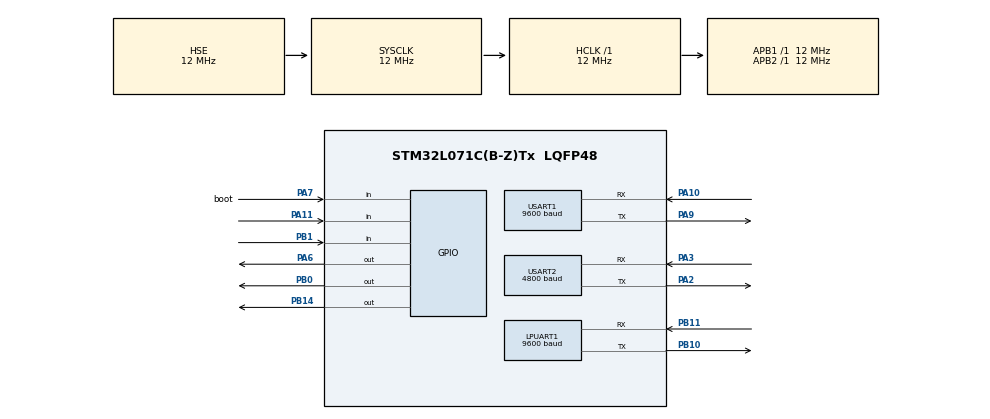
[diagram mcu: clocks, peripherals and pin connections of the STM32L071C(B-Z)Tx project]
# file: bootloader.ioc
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ADC.Resolution=ADC_RESOLUTION_10B
LPUART1.BaudRate=9600
LPUART1.SwapParam=UART_ADVFEATURE_SWAP_DISABLE
LPUART1.WordLength=UART_WORDLENGTH_8B
Mcu.Family=STM32L0
Mcu.Name=STM32L071C(B-Z)Tx
Mcu.Package=LQFP48
NVIC.LPUART1_IRQn=true\:0\:0\:false\:false\:true\:true\:true
NVIC.RTC_IRQn=true\:0\:0\:false\:false\:true\:true\:true
NVIC.USART2_IRQn=true\:0\:0\:false\:false\:true\:true\:true
PA10.Mode=Asynchronous
PA10.Signal=USART1_RX
PA11.Signal=GPIO_Input
PA13.Mode=Serial_Wire
PA13.Signal=SYS_SWDIO
PA14.Mode=Serial_Wire
PA14.Signal=SYS_SWCLK
PA2.Mode=Asynchronous
PA2.Signal=USART2_TX
PA3.Mode=Asynchronous
PA3.Signal=USART2_RX
PA6.Signal=GPIO_Output
PA7.GPIO_Label=boot
PA7.Signal=GPIO_Input
PA9.Mode=Asynchronous
PA9.Signal=USART1_TX
PB0.Signal=GPIO_Output
PB1.Signal=GPIO_Input
PB10.Mode=Asynchronous
PB10.Signal=LPUART1_TX
PB11.Mode=Asynchronous
PB11.Signal=LPUART1_RX
PB14.Signal=GPIO_Output
PC14-OSC32_IN.Mode=LSE-External-Oscillator
PC14-OSC32_IN.Signal=RCC_OSC32_IN
PC15-OSC32_OUT.Mode=LSE-External-Oscillator
PC15-OSC32_OUT.Signal=RCC_OSC32_OUT
PH0-OSC_IN.Mode=HSE-External-Oscillator
PH0-OSC_IN.Signal=RCC_OSC_IN
PH1-OSC_OUT.Mode=HSE-External-Oscillator
PH1-OSC_OUT.Signal=RCC_OSC_OUT
ProjectManager.HeapSize=0x200
ProjectManager.StackSize=0x400
ProjectManager.TargetToolchain=MDK-ARM V5
RCC.AHBFreq_Value=12000000
RCC.APB1Freq_Value=12000000
RCC.APB1TimFreq_Value=12000000
RCC.APB2Freq_Value=12000000
RCC.APB2TimFreq_Value=12000000
RCC.HCLKFreq_Value=12000000
RCC.HSE_VALUE=12000000
RCC.HSI16_VALUE=16000000
RCC.HSI_VALUE=16000000
RCC.MSI_VALUE=2097000
RCC.RTCClockSelection=RCC_RTCCLKSOURCE_LSE
RCC.RTCClockSelectionVirtual=RCC_RTCCLKSOURCE_LSE
RCC.SYSCLKFreq_VALUE=12000000
RCC.SYSCLKSource=RCC_SYSCLKSOURCE_HSE
RCC.VCOOutputFreq_Value=48000000
RTC.Alarm-Alarm\ A=RTC_ALARM_A
RTC.WakeUpClock-WakeUp=RTC_WAKEUPCLOCK_CK_SPRE_16BITS
RTC.WakeUpCounter-WakeUp=30
USART1.BaudRate=9600
USART1.VirtualMode-Asynchronous=VM_ASYNC
USART2.BaudRate=4800
USART2.VirtualMode-Asynchronous=VM_ASYNC
VP_ADC_Vref_Input.Mode=IN-Vrefint
VP_CRC_VS_CRC.Mode=CRC_Activate
VP_RTC_VS_RTC_Activate.Mode=RTC_Enabled
VP_RTC_VS_RTC_Alarm_A_Intern.Mode=Alarm A
VP_RTC_VS_RTC_Calendar.Mode=RTC_Calendar
VP_RTC_VS_RTC_WakeUp_intern.Mode=WakeUp
board=custom

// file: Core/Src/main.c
/* USER CODE BEGIN Header */
/**
 ******************************************************************************
 * @file           : main.c
 * @brief          : Main program body
 ******************************************************************************
 * @attention
 *
 * <h2><center>&copy; Copyright (c) 2022 STMicroelectronics.
 * All rights reserved.</center></h2>
 *
 * This software component is licensed by ST under BSD 3-Clause license,
 * the "License"; You may not use this file except in compliance with the
 * License. You may obtain a copy of the License at:
 *                        opensource.org/licenses/BSD-3-Clause
 *
 ******************************************************************************
 */
/* USER CODE END Header */
#include "main.h"
#include "adc.h"
#include "crc.h"
#include "usart.h"
#include "rtc.h"
#include "gpio.h"

/* USER CODE BEGIN PD */
#define Flash_Base_App_1 0x08004000UL
#define Bootloader_version 1
// # define MANUFACTURER_ID 0xCAFE00
/* USER CODE END PD */

/* USER CODE BEGIN PV */

uint8_t RX_Uart1[300];
uint8_t RX_Uart_CMD_Checker = 0;
uint8_t responseFromMCU[20];
uint8_t responseFromMCU_lenght = 0;

uint32_t tempAddressMemWrite = 0;
uint8_t tempMaxCountWrite = 0;
int8_t y = 0;
uint32_t flash_data = 0;
volatile uint32_t crcCheck = 0;
volatile uint32_t javaCrc = 0;

/* USER CODE END PV */

void SystemClock_Config(void);

int main(void)
{

	/* MCU Configuration--------------------------------------------------------*/

	/* Reset of all peripherals, Initializes the Flash interface and the Systick. */
	HAL_Init();

	/* Configure the system clock */
	SystemClock_Config();

	/* Initialize all configured peripherals */
	MX_GPIO_Init();
	MX_RTC_Init();
	MX_USART2_UART_Init();
	MX_LPUART1_UART_Init();
	MX_ADC_Init();
	MX_CRC_Init();
	MX_USART1_UART_Init();
	/* USER CODE BEGIN 2 */

	if (HAL_GPIO_ReadPin(boot_GPIO_Port, boot_Pin) == GPIO_PIN_SET)
	{
		// Go to user app
		void (*user_App_1)(void);

		uint32_t tmep_msp = *(__IO uint32_t *)Flash_Base_App_1;
		__set_MSP(tmep_msp);
		uint32_t user_app1_RSThandler_address = *(__IO uint32_t *)(Flash_Base_App_1 + 4);
		user_App_1 = (void *)user_app1_RSThandler_address;

		user_App_1();
	}
	else
	{
		// bootloader todo

		while (1)
		{

			for (uint16_t cr = 0; cr < sizeof(RX_Uart1); cr++)
				RX_Uart1[cr] = 0;

			HAL_UART_Receive(&huart1, RX_Uart1, 1, HAL_MAX_DELAY);
			if (RX_Uart1[0] & 0x80)
			{
				// in this state we should act with this bit as a response
			}
			else
			{
				// in this state we should act with this bit as a command
				uint8_t packetLenght = (RX_Uart1[0] & 0x7f);

				HAL_UART_Receive(&huart1, RX_Uart1 + 1, (packetLenght + 4), HAL_MAX_DELAY);

				for (uint16_t co = 0; co < sizeof(responseFromMCU); co++)
					responseFromMCU[co] = 0;

				uint32_t tmep_msp = 0;
				uint32_t user_app1_RSThandler_addressx = 0;
				void (*user_App_x)(void);

				uint32_t tempPageToErase = 0;
				FLASH_EraseInitTypeDef mFLASH_EraseInitTypeDef;
				uint32_t tempErrorErase = 0;

				uint32_t tempValue;
				//	uint32_t javaCrc=0;
				responseFromMCU_lenght = 1;
				uint8_t packetLenghtAsInt = 0;
				uint8_t conw;
				uint8_t read = (packetLenght + 1);
				uint8_t tempByte[4];
				uint8_t yshow;
				//////check crc part///////////

				if (packetLenght < 2)
				{
					javaCrc = RX_Uart1[2] << 24 | RX_Uart1[3] << 16 | RX_Uart1[4] << 8 | RX_Uart1[5];
					tempValue = 0;
					tempValue = RX_Uart1[0] << 24 | RX_Uart1[1] << 16;
					crcCheck = HAL_CRC_Calculate(&hcrc, &tempValue, 1);

					if (javaCrc == crcCheck)
					{

						// ACK response which means packet has been received correctly
						// A means Ack
						responseFromMCU[responseFromMCU_lenght++] = 'A';
					}
					else
					{
						//
						//
						//
						//
					}
				}
				else
				{
					__HAL_CRC_DR_RESET(&hcrc);
					for (conw = 0; conw < read; conw += 4)
					{
						if (conw < read)
						{
							tempByte[0] = RX_Uart1[conw];
						}
						else
						{

							tempByte[0] = 0x00;
						}
						if (conw + 1 < read)
						{
							tempByte[1] = RX_Uart1[conw + 1];
						}
						else
						{

							tempByte[1] = 0x00;
						}
						if (conw + 2 < read)
						{
							tempByte[2] = RX_Uart1[conw + 2];
						}
						else
						{

							tempByte[2] = 0x00;
						}
						if (conw + 3 < read)
						{
							tempByte[3] = RX_Uart1[conw + 3];
						}
						else
						{

							tempByte[3] = 0x00;
						}
						tempValue = tempByte[0] << 24 | tempByte[1] << 16 | tempByte[2] << 8 | tempByte[3];
						crcCheck = HAL_CRC_Accumulate(&hcrc, &tempValue, 1);
					}

					javaCrc = RX_Uart1[(packetLenght) + 1] << 24 | RX_Uart1[(packetLenght) + 2] << 16 | RX_Uart1[(packetLenght) + 3] << 8 | RX_Uart1[(packetLenght) + 4];

					if (javaCrc == crcCheck)
					{

						// A means Ack
						responseFromMCU[responseFromMCU_lenght++] = 'A';
					}
					else
					{
						HAL_UART_Transmit(&huart1, "CRCNOTOK", 8, 100);
						//
						//
						//
						//
					}
				}

				///////////////end of crc check////////////////

				switch (RX_Uart1[1])
				{

				case 1:
					// Help

					if (responseFromMCU[1] == 'A')
					{
						responseFromMCU[responseFromMCU_lenght++] = 'H';
						responseFromMCU[responseFromMCU_lenght++] = 'E';
						responseFromMCU[responseFromMCU_lenght++] = 'L';
						responseFromMCU[responseFromMCU_lenght++] = 'P';
						responseFromMCU[responseFromMCU_lenght++] = 'R';
						responseFromMCU[responseFromMCU_lenght++] = 'E';
						responseFromMCU[responseFromMCU_lenght++] = 'S';
						responseFromMCU[0] = 0x80 + (responseFromMCU_lenght);
						HAL_UART_Transmit(&huart1, responseFromMCU, responseFromMCU_lenght, 500);
					}
					else
					{
						responseFromMCU[responseFromMCU_lenght++] = 'N'; // crc not ok
						responseFromMCU[0] = 0x81;

						HAL_UART_Transmit(&huart1, responseFromMCU, responseFromMCU_lenght, 100);
					}
					break;

				case 2:
					// bootloader version
					if (responseFromMCU[1] == 'A')
					{
						responseFromMCU[responseFromMCU_lenght++] = 'V';
						responseFromMCU[responseFromMCU_lenght++] = 'E';
						responseFromMCU[responseFromMCU_lenght++] = 'R';
						responseFromMCU[responseFromMCU_lenght++] = 'S';
						responseFromMCU[responseFromMCU_lenght++] = 'I';
						responseFromMCU[responseFromMCU_lenght++] = 'O';
						responseFromMCU[responseFromMCU_lenght++] = 'N';
						responseFromMCU[responseFromMCU_lenght++] = ':';
						responseFromMCU[responseFromMCU_lenght++] = Bootloader_version + 0x30;
						responseFromMCU[0] = 0x80 + (responseFromMCU_lenght);
						HAL_UART_Transmit(&huart1, responseFromMCU, responseFromMCU_lenght, 100);
					}
					else
					{
						responseFromMCU[responseFromMCU_lenght++] = 'N'; // crc not ok
						responseFromMCU[0] = 0x81;

						HAL_UART_Transmit(&huart1, responseFromMCU, responseFromMCU_lenght, 100);
					}
					break;

				case 3:
					// flash sector status
					if (responseFromMCU[1] == 'A')
					{
						responseFromMCU[responseFromMCU_lenght++] = 'F';
						responseFromMCU[responseFromMCU_lenght++] = 'L';
						responseFromMCU[responseFromMCU_lenght++] = 'A';
						responseFromMCU[responseFromMCU_lenght++] = 'S';
						responseFromMCU[responseFromMCU_lenght++] = 'H';
						responseFromMCU[responseFromMCU_lenght++] = 'S';
						responseFromMCU[responseFromMCU_lenght++] = 'T';
						responseFromMCU[responseFromMCU_lenght++] = 'A';
						responseFromMCU[responseFromMCU_lenght++] = 'T';
						responseFromMCU[responseFromMCU_lenght++] = 'U';
						responseFromMCU[responseFromMCU_lenght++] = 'S';
						responseFromMCU[responseFromMCU_lenght++] = ':';
						responseFromMCU[responseFromMCU_lenght++] = ' ';
						responseFromMCU[responseFromMCU_lenght++] = ((FLASH->WRPR) >> 24) & 0xFF;
						responseFromMCU[responseFromMCU_lenght++] = ((FLASH->WRPR) >> 16) & 0xFF;
						responseFromMCU[responseFromMCU_lenght++] = ((FLASH->WRPR) >> 8) & 0xFF;
						responseFromMCU[responseFromMCU_lenght++] = ((FLASH->WRPR)) & 0xFF;
						responseFromMCU[0] = 0x80 + (responseFromMCU_lenght);

						HAL_UART_Transmit(&huart1, responseFromMCU, responseFromMCU_lenght, 100);
					}
					else
					{
						responseFromMCU[responseFromMCU_lenght++] = 'N'; // crc not ok
						responseFromMCU[0] = 0x81;

						HAL_UART_Transmit(&huart1, responseFromMCU, responseFromMCU_lenght, 100);
					}

					break;

				case 4:
					// send uniqe device ID to java app pc

					if (responseFromMCU[1] == 'A')
					{
						responseFromMCU[responseFromMCU_lenght++] = 'M';
						responseFromMCU[responseFromMCU_lenght++] = 'A';
						responseFromMCU[responseFromMCU_lenght++] = 'N';

						responseFromMCU[responseFromMCU_lenght++] = 'I';
						responseFromMCU[responseFromMCU_lenght++] = 'D';
						responseFromMCU[responseFromMCU_lenght++] = ':';
						responseFromMCU[responseFromMCU_lenght++] = ' ';

						responseFromMCU[responseFromMCU_lenght++] = ((*(uint8_t *)(UID_BASE)) / 100) + 0x30;
						responseFromMCU[responseFromMCU_lenght++] = (((*(uint8_t *)(UID_BASE) % 100)) / 10) + 0x30;
						responseFromMCU[responseFromMCU_lenght++] = ((*(uint8_t *)(UID_BASE)) % 10) + 0x30;

						responseFromMCU[responseFromMCU_lenght++] = ((*(uint8_t *)(UID_BASE + 1)) / 100) + 0x30;
						responseFromMCU[responseFromMCU_lenght++] = (((*(uint8_t *)(UID_BASE + 1)) % 100) / 10) + 0x30;
						responseFromMCU[responseFromMCU_lenght++] = ((*(uint8_t *)(UID_BASE + 1)) % 10) + 0x30;

						responseFromMCU[responseFromMCU_lenght++] = ((*(uint8_t *)(UID_BASE + 2)) / 100) + 0x30;
						responseFromMCU[responseFromMCU_lenght++] = (((*(uint8_t *)(UID_BASE + 2) % 100)) / 10) + 0x30;
						responseFromMCU[responseFromMCU_lenght++] = ((*(uint8_t *)(UID_BASE + 2)) % 10) + 0x30;

						responseFromMCU[responseFromMCU_lenght++] = ((*(uint8_t *)(UID_BASE + 3)) / 100) + 0x30;
						responseFromMCU[responseFromMCU_lenght++] = (((*(uint8_t *)(UID_BASE + 3) % 100)) / 10) + 0x30;
						responseFromMCU[responseFromMCU_lenght++] = ((*(uint8_t *)(UID_BASE + 3)) % 10) + 0x30;

						responseFromMCU[0] = 0x80 + (responseFromMCU_lenght);

						HAL_UART_Transmit(&huart1, responseFromMCU, responseFromMCU_lenght, 100);
					}
					else
					{
						responseFromMCU[responseFromMCU_lenght++] = 'N'; // crc not ok
						responseFromMCU[0] = 0x81;

						HAL_UART_Transmit(&huart1, responseFromMCU, responseFromMCU_lenght, 100);
					}

					responseFromMCU[0] = ((*(uint8_t *)(UID_BASE)) / 100) + 0x30;
					responseFromMCU[1] = (((*(uint8_t *)(UID_BASE) % 100)) / 10) + 0x30;
					responseFromMCU[2] = ((*(uint8_t *)(UID_BASE)) % 10) + 0x30;

					responseFromMCU[3] = ((*(uint8_t *)(UID_BASE + 1)) / 100) + 0x30;
					responseFromMCU[4] = (((*(uint8_t *)(UID_BASE + 1)) % 100) / 10) + 0x30;
					responseFromMCU[5] = ((*(uint8_t *)(UID_BASE + 1)) % 10) + 0x30;

					responseFromMCU[6] = ((*(uint8_t *)(UID_BASE + 2)) / 100) + 0x30;
					responseFromMCU[7] = (((*(uint8_t *)(UID_BASE + 2) % 100)) / 10) + 0x30;
					responseFromMCU[8] = ((*(uint8_t *)(UID_BASE + 2)) % 10) + 0x30;

					responseFromMCU[9] = ((*(uint8_t *)(UID_BASE + 3)) / 100) + 0x30;
					responseFromMCU[10] = (((*(uint8_t *)(UID_BASE + 3) % 100)) / 10) + 0x30;
					responseFromMCU[11] = ((*(uint8_t *)(UID_BASE + 3)) % 10) + 0x30;

					HAL_UART_Transmit(&huart1, responseFromMCU, 12, 100);
					break;

				case 5:
					// jump to user app

					if (responseFromMCU[1] == 'A')
					{

						responseFromMCU[responseFromMCU_lenght++] = 'D';
						responseFromMCU[responseFromMCU_lenght++] = 'O';
						responseFromMCU[responseFromMCU_lenght++] = 'N';
						responseFromMCU[responseFromMCU_lenght++] = 'E';
						responseFromMCU[0] = 0x80 + (responseFromMCU_lenght);

						HAL_UART_Transmit(&huart1, responseFromMCU, responseFromMCU_lenght, 100);

						tmep_msp = *(__IO uint32_t *)Flash_Base_App_1;
						__set_MSP(tmep_msp);
						user_app1_RSThandler_addressx = *(__IO uint32_t *)(Flash_Base_App_1 + 4);
						user_App_x = (void *)user_app1_RSThandler_addressx;
						user_App_x();
					}
					else
					{
						responseFromMCU[responseFromMCU_lenght++] = 'N'; // crc not ok
						responseFromMCU[0] = 0x81;

						HAL_UART_Transmit(&huart1, responseFromMCU, responseFromMCU_lenght, 100);
					}

					// HAL_UART_Transmit(&huart1, "Done", 4, 100);

					break;

				case 6:
					// Memory Erase

					if (responseFromMCU[1] == 'A')
					{

						tempAddressMemWrite = RX_Uart1[2] << 24 | RX_Uart1[3] << 16 | RX_Uart1[4] << 8 | RX_Uart1[5];
						tempPageToErase = RX_Uart1[6];

						mFLASH_EraseInitTypeDef.NbPages = tempPageToErase;
						mFLASH_EraseInitTypeDef.PageAddress = tempAddressMemWrite;
						mFLASH_EraseInitTypeDef.TypeErase = FLASH_TYPEERASE_PAGES;

						HAL_FLASH_Unlock();

						HAL_FLASHEx_Erase(&mFLASH_EraseInitTypeDef, &tempErrorErase);

						HAL_FLASH_Unlock();

						responseFromMCU[responseFromMCU_lenght++] = 'E';
						responseFromMCU[responseFromMCU_lenght++] = 'D';
						responseFromMCU[responseFromMCU_lenght++] = 'O';
						responseFromMCU[responseFromMCU_lenght++] = 'N';
						responseFromMCU[responseFromMCU_lenght++] = 'E';
						responseFromMCU[0] = 0x80 + (responseFromMCU_lenght);

						HAL_UART_Transmit(&huart1, responseFromMCU, responseFromMCU_lenght, 100);
					}
					else
					{
						responseFromMCU[responseFromMCU_lenght++] = 'N'; // crc not ok
						responseFromMCU[0] = 0x81;

						HAL_UART_Transmit(&huart1, responseFromMCU, responseFromMCU_lenght, 100);
					}

					break;

				case 7:
					// memory write command

					if (responseFromMCU[1] == 'A')
					{

						tempAddressMemWrite = RX_Uart1[2] << 24 | RX_Uart1[3] << 16 | RX_Uart1[4] << 8 | RX_Uart1[5];
						tempMaxCountWrite = ((RX_Uart1[0] & 0x7f) - 5);
						HAL_FLASH_Unlock();

						for (int i = 0; i < tempMaxCountWrite; i += 4)
						{
							//	flash_data= (RX_Uart1[i])<<24 | (RX_Uart1[i+1])<<16 | (RX_Uart1[i+2])<<8 | (RX_Uart1[i+3]) ;

							flash_data = (RX_Uart1[i + 9]) << 24 | (RX_Uart1[i + 8]) << 16 | (RX_Uart1[i + 7]) << 8 | (RX_Uart1[i + 6]);
							HAL_FLASH_Program(FLASH_TYPEPROGRAM_WORD, tempAddressMemWrite + i, flash_data);
						}

						HAL_FLASH_Lock();

						responseFromMCU[responseFromMCU_lenght++] = 'P';
						responseFromMCU[responseFromMCU_lenght++] = 'D';
						responseFromMCU[responseFromMCU_lenght++] = 'O';
						responseFromMCU[responseFromMCU_lenght++] = 'N';
						responseFromMCU[responseFromMCU_lenght++] = 'E';
						responseFromMCU[0] = 0x80 + (responseFromMCU_lenght);

						HAL_UART_Transmit(&huart1, responseFromMCU, responseFromMCU_lenght, 100);
					}
					else
					{
						responseFromMCU[responseFromMCU_lenght++] = 'N'; // crc not ok
						responseFromMCU[0] = 0x81;

						HAL_UART_Transmit(&huart1, responseFromMCU, responseFromMCU_lenght, 100);
					}

					break;
				}
			}
		}
	}

	/* USER CODE END 2 */

	/* Infinite loop */
	while (1)
	{

	}
}

void SystemClock_Config(void)
{
	RCC_OscInitTypeDef RCC_OscInitStruct = {0};
	RCC_ClkInitTypeDef RCC_ClkInitStruct = {0};
	RCC_PeriphCLKInitTypeDef PeriphClkInit = {0};

	/** Configure the main internal regulator output voltage
	 */
	__HAL_PWR_VOLTAGESCALING_CONFIG(PWR_REGULATOR_VOLTAGE_SCALE1);
	/** Configure LSE Drive Capability
	 */
	HAL_PWR_EnableBkUpAccess();
	__HAL_RCC_LSEDRIVE_CONFIG(RCC_LSEDRIVE_HIGH);
	/** Initializes the CPU, AHB and APB busses clocks
	 */
	RCC_OscInitStruct.OscillatorType = RCC_OSCILLATORTYPE_HSE | RCC_OSCILLATORTYPE_LSE;
	RCC_OscInitStruct.HSEState = RCC_HSE_ON;
	RCC_OscInitStruct.LSEState = RCC_LSE_ON;
	RCC_OscInitStruct.PLL.PLLState = RCC_PLL_NONE;
	if (HAL_RCC_OscConfig(&RCC_OscInitStruct) != HAL_OK)
	{
		Error_Handler();
	}
	/** Initializes the CPU, AHB and APB busses clocks
	 */
	RCC_ClkInitStruct.ClockType = RCC_CLOCKTYPE_HCLK | RCC_CLOCKTYPE_SYSCLK | RCC_CLOCKTYPE_PCLK1 | RCC_CLOCKTYPE_PCLK2;
	RCC_ClkInitStruct.SYSCLKSource = RCC_SYSCLKSOURCE_HSE;
	RCC_ClkInitStruct.AHBCLKDivider = RCC_SYSCLK_DIV1;
	RCC_ClkInitStruct.APB1CLKDivider = RCC_HCLK_DIV1;
	RCC_ClkInitStruct.APB2CLKDivider = RCC_HCLK_DIV1;

	if (HAL_RCC_ClockConfig(&RCC_ClkInitStruct, FLASH_LATENCY_0) != HAL_OK)
	{
		Error_Handler();
	}
	PeriphClkInit.PeriphClockSelection = RCC_PERIPHCLK_USART2 | RCC_PERIPHCLK_LPUART1 | RCC_PERIPHCLK_RTC;
	PeriphClkInit.Usart2ClockSelection = RCC_USART2CLKSOURCE_PCLK1;
	PeriphClkInit.Lpuart1ClockSelection = RCC_LPUART1CLKSOURCE_PCLK1;
	PeriphClkInit.RTCClockSelection = RCC_RTCCLKSOURCE_LSE;
	if (HAL_RCCEx_PeriphCLKConfig(&PeriphClkInit) != HAL_OK)
	{
		Error_Handler();
	}
}

void Error_Handler(void)
{
	__disable_irq();
	while (1)
	{
	}
}

/************************ (C) COPYRIGHT STMicroelectronics *****END OF FILE****/
